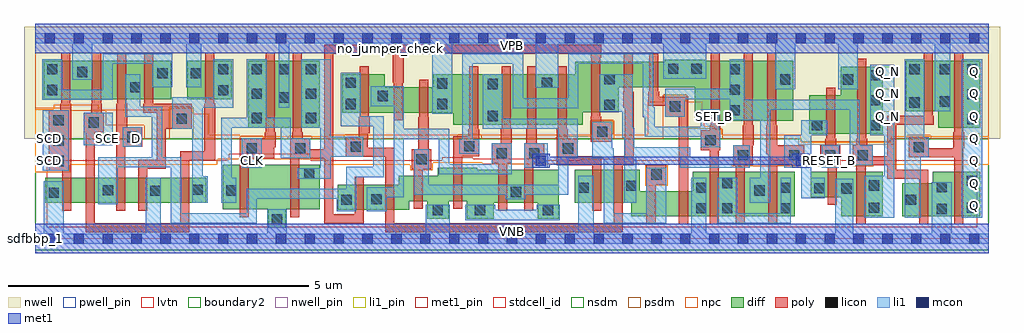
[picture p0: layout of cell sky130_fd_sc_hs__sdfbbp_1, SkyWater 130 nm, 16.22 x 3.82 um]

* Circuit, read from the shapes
.subckt sky130_fd_sc_hs__sdfbbp_1 CLK D Q Q_N RESET_B SCD SCE SET_B VGND VNB VPB VPWR
XM1 n1 SCD VGND VNB sky130_fd_pr__nfet_01v8_lvt w=0.42 l=0.15
XM2 n2 SCE n1 VNB sky130_fd_pr__nfet_01v8_lvt w=0.42 l=0.15
XM3 n3 D n2 VNB sky130_fd_pr__nfet_01v8_lvt w=0.42 l=0.15
XM4 VGND n4 n3 VNB sky130_fd_pr__nfet_01v8_lvt w=0.42 l=0.15
XM5 n4 SCE VGND VNB sky130_fd_pr__nfet_01v8_lvt w=0.42 l=0.15
XM6 VGND CLK n5 VNB sky130_fd_pr__nfet_01v8_lvt w=0.74 l=0.15
XM7 n6 n5 VGND VNB sky130_fd_pr__nfet_01v8_lvt w=0.74 l=0.15
XM8 n7 n5 n2 VNB sky130_fd_pr__nfet_01v8_lvt w=0.42 l=0.15
XM9 n8 n6 n7 VNB sky130_fd_pr__nfet_01v8_lvt w=0.42 l=0.15
XM10 VGND n9 n8 VNB sky130_fd_pr__nfet_01v8_lvt w=0.42 l=0.15
XM11 n10 SET_B VGND VNB sky130_fd_pr__nfet_01v8_lvt w=0.55 l=0.15
XM12 n9 n7 n10 VNB sky130_fd_pr__nfet_01v8_lvt w=0.55 l=0.15
XM13 n10 n11 n9 VNB sky130_fd_pr__nfet_01v8_lvt w=0.55 l=0.15
XM14 n12 n9 VGND VNB sky130_fd_pr__nfet_01v8_lvt w=0.55 l=0.15
XM15 n13 n6 n12 VNB sky130_fd_pr__nfet_01v8_lvt w=0.55 l=0.15
XM16 n14 n5 n13 VNB sky130_fd_pr__nfet_01v8_lvt w=0.42 l=0.15
XM17 VGND n15 n14 VNB sky130_fd_pr__nfet_01v8_lvt w=0.42 l=0.15
XM18 n16 SET_B VGND VNB sky130_fd_pr__nfet_01v8_lvt w=0.74 l=0.15
XM19 n15 n13 n16 VNB sky130_fd_pr__nfet_01v8_lvt w=0.74 l=0.15
XM20 n16 n11 n15 VNB sky130_fd_pr__nfet_01v8_lvt w=0.74 l=0.15
XM21 VGND RESET_B n11 VNB sky130_fd_pr__nfet_01v8_lvt w=0.42 l=0.15
XM22 Q_N n15 VGND VNB sky130_fd_pr__nfet_01v8_lvt w=0.74 l=0.15
XM23 VGND n15 n17 VNB sky130_fd_pr__nfet_01v8_lvt w=0.55 l=0.15
XM24 Q n17 VGND VNB sky130_fd_pr__nfet_01v8_lvt w=0.74 l=0.15
XM25 VPWR SCD n18 VPB sky130_fd_pr__pfet_01v8 w=0.64 l=0.15
XM26 n19 SCE VPWR VPB sky130_fd_pr__pfet_01v8 w=0.64 l=0.15
XM27 n2 D n19 VPB sky130_fd_pr__pfet_01v8 w=0.64 l=0.15
XM28 n18 n4 n2 VPB sky130_fd_pr__pfet_01v8 w=0.64 l=0.15
XM29 n4 SCE VPWR VPB sky130_fd_pr__pfet_01v8 w=0.64 l=0.15
XM30 VPWR CLK n5 VPB sky130_fd_pr__pfet_01v8 w=1.12 l=0.15
XM31 n6 n5 VPWR VPB sky130_fd_pr__pfet_01v8 w=1.12 l=0.15
XM32 n7 n6 n2 VPB sky130_fd_pr__pfet_01v8 w=0.64 l=0.15
XM33 n20 n5 n7 VPB sky130_fd_pr__pfet_01v8 w=0.42 l=0.15
XM34 VPWR n9 n20 VPB sky130_fd_pr__pfet_01v8 w=0.42 l=0.15
XM35 n9 SET_B VPWR VPB sky130_fd_pr__pfet_01v8 w=0.84 l=0.15
XM36 n21 n7 n9 VPB sky130_fd_pr__pfet_01v8 w=0.84 l=0.15
XM37 VPWR n11 n21 VPB sky130_fd_pr__pfet_01v8 w=0.84 l=0.15
XM38 n22 n9 VPWR VPB sky130_fd_pr__pfet_01v8 w=0.84 l=0.15
XM39 n13 n5 n22 VPB sky130_fd_pr__pfet_01v8 w=0.84 l=0.15
XM40 n23 n6 n13 VPB sky130_fd_pr__pfet_01v8 w=0.42 l=0.15
XM41 VPWR n15 n23 VPB sky130_fd_pr__pfet_01v8 w=0.42 l=0.15
XM42 n15 SET_B VPWR VPB sky130_fd_pr__pfet_01v8 w=1 l=0.15
XM43 n24 n13 n15 VPB sky130_fd_pr__pfet_01v8 w=1 l=0.15
XM44 VPWR n11 n24 VPB sky130_fd_pr__pfet_01v8 w=1 l=0.15
XM45 VPWR RESET_B n11 VPB sky130_fd_pr__pfet_01v8 w=0.64 l=0.15
XM46 Q_N n15 VPWR VPB sky130_fd_pr__pfet_01v8 w=1.12 l=0.15
XM47 VPWR n15 n17 VPB sky130_fd_pr__pfet_01v8 w=0.84 l=0.15
XM48 Q n17 VPWR VPB sky130_fd_pr__pfet_01v8 w=1.12 l=0.15
.ends

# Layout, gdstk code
import gdstk
lib = gdstk.Library(unit=1e-6, precision=1e-09)
def R(c, l, rs):  # rectangles x0, y0, x1, y1
    for r in rs: c.add(gdstk.rectangle(r[:2], r[2:], *l))
def A(c, l, x, y, w, h, nx, ny, dx, dy):  # array of equal rectangles
    R(c, l, [(x+i*dx, y+j*dy, x+i*dx+w, y+j*dy+h) for i in range(nx) for j in range(ny)])
def P(c, l, *ps):  # polygons
    for p in ps: c.add(gdstk.Polygon(p, *l))
nwell_pin = (64, 16)
nwell = (64, 20)
diff = (65, 20)
poly = (66, 20)
licon = (66, 44)
li1_pin = (67, 16)
li1 = (67, 20)
mcon = (67, 44)
met1_pin = (68, 16)
met1 = (68, 20)
stdcell_id = (81, 4)
nsdm = (93, 44)
psdm = (94, 20)
npc = (95, 20)
pwell_pin = (122, 16)
lvtn = (125, 44)
boundary2 = (236, 0)

sky130_fd_sc_hs__sdfbbp_ = lib.new_cell('sky130_fd_sc_hs__sdfbbp_1')
R(sky130_fd_sc_hs__sdfbbp_, nwell_pin, [(0,3.085,15.84,3.33)])
P(sky130_fd_sc_hs__sdfbbp_, nwell, [(16.03,3.52),(-0.19,3.52),(-0.19,1.66),(12.68,1.66),(12.68,1.56),(14.26,1.56),(14.26,1.66),(16.03,1.66)])
R(sky130_fd_sc_hs__sdfbbp_, diff, [(0.16,0.595,2.84,1.015), (3.535,1.84,4.725,2.96), (0.135,2.32,2.255,2.96), (2.525,2.32,3.265,2.96)])
P(sky130_fd_sc_hs__sdfbbp_, diff, [(4.725,1.23),(3.11,1.23),(3.11,0.49),(3.87,0.49),(3.87,0.18),(4.16,0.18),(4.16,0.49),(4.725,0.49)],
  [(8.695,1.145),(7.34,1.145),(7.34,1.175),(6.69,1.175),(6.69,1.045),(6.035,1.045),(6.035,0.9),(5.025,0.9),(5.025,0.48),(6.21,0.48),(6.21,0.625),(6.51,0.625),(6.51,0.33),(6.865,0.33),(6.865,0.625),(7.165,0.625),(7.165,0.33),(7.62,0.33),(7.62,0.595),(8.35,0.595),(8.35,0.33),(8.695,0.33)],
  [(12.59,2.96),(11.13,2.96),(11.13,2.97),(10.455,2.97),(10.455,2.94),(8.975,2.94),(8.975,2.735),(6.615,2.735),(6.615,2.515),(5.805,2.515),(5.805,2.735),(5.095,2.735),(5.095,2.095),(6.945,2.095),(6.945,1.895),(9.095,1.895),(9.095,2.1),(9.69,2.1),(9.69,2.52),(10.955,2.52),(10.955,1.96),(12.59,1.96)],
  [(12.615,1.11),(10.92,1.11),(10.92,0.79),(10.045,0.79),(10.045,1.145),(8.965,1.145),(8.965,0.595),(9.905,0.595),(9.905,0.37),(12.615,0.37)],
  [(14.08,2.86),(13.38,2.86),(13.38,2.38),(12.86,2.38),(12.86,1.74),(14.08,1.74)],
  [(14.08,1.11),(12.885,1.11),(12.885,0.69),(13.395,0.69),(13.395,0.37),(14.08,0.37)],
  [(15.705,2.96),(14.465,2.96),(14.465,2.12),(15.005,2.12),(15.005,1.84),(15.705,1.84)],
  [(15.705,1.11),(14.915,1.11),(14.915,0.92),(14.405,0.92),(14.405,0.37),(15.705,0.37)])
P(sky130_fd_sc_hs__sdfbbp_, poly, [(15.435,1.765),(15.42,1.765),(15.42,3.09),(15.27,3.09),(15.27,1.765),(15.255,1.765),(15.255,1.505),(14.845,1.505),(14.845,1.685),(14.515,1.685),(14.515,1.355),(15.27,1.355),(15.27,0.24),(15.42,0.24),(15.42,1.505),(15.435,1.505)],
  [(14.925,2.045),(14.91,2.045),(14.91,3.09),(14.76,3.09),(14.76,2.045),(14.155,2.045),(14.155,1.37),(13.915,1.37),(13.915,1.55),(13.82,1.55),(13.82,1.665),(13.805,1.665),(13.805,2.99),(13.655,2.99),(13.655,1.665),(13.64,1.665),(13.64,1.55),(13.585,1.55),(13.585,1.22),(13.645,1.22),(13.645,0.24),(13.795,0.24),(13.795,1.22),(14.155,1.22),(14.155,0.995),(14.69,0.995),(14.69,0.24),(14.84,0.24),(14.84,1.145),(14.305,1.145),(14.305,1.895),(14.925,1.895)],
  [(13.375,1.55),(13.305,1.55),(13.305,1.665),(13.29,1.665),(13.29,2.51),(13.14,2.51),(13.14,1.665),(13.125,1.665),(13.125,1.55),(13.045,1.55),(13.045,1.22),(13.17,1.22),(13.17,0.56),(13.32,0.56),(13.32,1.22),(13.375,1.22)],
  [(12.775,1.55),(12.325,1.55),(12.325,1.885),(12.31,1.885),(12.31,3.09),(12.16,3.09),(12.16,1.885),(12.145,1.885),(12.145,1.4),(12.175,1.4),(12.175,0.24),(12.325,0.24),(12.325,1.22),(12.775,1.22)],
  [(11.935,1.885),(11.92,1.885),(11.92,3.09),(11.77,3.09),(11.77,1.885),(11.755,1.885),(11.755,1.55),(11.595,1.55),(11.595,1.22),(11.635,1.22),(11.635,0.24),(11.785,0.24),(11.785,1.22),(11.925,1.22),(11.925,1.55),(11.935,1.55)],
  [(11.385,1.885),(11.37,1.885),(11.37,3.09),(11.22,3.09),(11.22,1.885),(11.205,1.885),(11.205,1.8),(11.055,1.8),(11.055,1.47),(11.205,1.47),(11.205,0.24),(11.355,0.24),(11.355,1.47),(11.385,1.47)],
  [(10.845,2.36),(10.365,2.36),(10.365,2.445),(10.35,2.445),(10.35,3.07),(10.2,3.07),(10.2,2.445),(10.185,2.445),(10.185,2.21),(10.465,2.21),(10.465,2.03),(10.695,2.03),(10.695,0.24),(10.845,0.24)],
  [(10.485,1.23),(10.155,1.23),(10.155,0.24),(10.305,0.24),(10.305,0.9),(10.485,0.9)],
  [(9.945,2.445),(9.93,2.445),(9.93,3.07),(9.78,3.07),(9.78,2.445),(9.765,2.445),(9.765,2.18),(9.795,2.18),(9.795,1.37),(9.61,1.37),(9.61,0.255),(5.96,0.255),(5.96,1.515),(5.525,1.515),(5.525,1.755),(5.555,1.755),(5.555,2.02),(5.54,2.02),(5.54,2.865),(5.39,2.865),(5.39,2.02),(5.375,2.02),(5.375,1.695),(5.16,1.695),(5.16,1.365),(5.81,1.365),(5.81,0.105),(9.76,0.105),(9.76,1.22),(9.945,1.22)],
  [(9.585,1.94),(9.405,1.94),(9.405,2.025),(9.39,2.025),(9.39,3.015),(9.405,3.015),(9.405,3.225),(4.8,3.225),(4.8,1.49),(4.565,1.49),(4.565,1.67),(4.445,1.67),(4.445,1.765),(4.43,1.765),(4.43,3.09),(4.28,3.09),(4.28,1.765),(4.265,1.765),(4.265,1.67),(4.235,1.67),(4.235,0.36),(4.385,0.36),(4.385,1.34),(4.8,1.34),(4.8,0.255),(5.46,0.255),(5.46,1.03),(5.31,1.03),(5.31,0.405),(4.95,0.405),(4.95,3.075),(5.94,3.075),(5.94,2.59),(5.955,2.59),(5.955,1.965),(6.105,1.965),(6.105,2.59),(6.12,2.59),(6.12,3.075),(9.225,3.075),(9.225,3.015),(9.24,3.015),(9.24,2.025),(9.225,2.025),(9.225,1.61),(9.585,1.61)],
  [(9.4,1.37),(9.015,1.37),(9.015,1.665),(8.845,1.665),(8.845,1.82),(8.83,1.82),(8.83,2.865),(8.68,2.865),(8.68,1.82),(8.665,1.82),(8.665,1.22),(9.25,1.22),(9.25,0.465),(9.4,0.465)],
  [(8.455,1.585),(8.335,1.585),(8.335,1.82),(8.32,1.82),(8.32,2.865),(8.17,2.865),(8.17,1.82),(8.155,1.82),(8.155,1.585),(8.125,1.585),(8.125,0.465),(8.275,0.465),(8.275,1.255),(8.455,1.255)],
  [(7.915,1.82),(7.9,1.82),(7.9,2.865),(7.75,2.865),(7.75,1.82),(7.735,1.82),(7.735,1.585),(7.585,1.585),(7.585,1.255),(7.695,1.255),(7.695,0.465),(7.845,0.465),(7.845,1.255),(7.915,1.255)],
  [(7.375,1.82),(7.36,1.82),(7.36,2.865),(7.21,2.865),(7.21,1.82),(7.195,1.82),(7.195,1.7),(6.94,1.7),(6.94,0.495),(7.09,0.495),(7.09,1.37),(7.375,1.37)],
  [(6.58,1.485),(6.54,1.485),(6.54,2.02),(6.525,2.02),(6.525,2.645),(6.375,2.645),(6.375,2.02),(6.36,2.02),(6.36,1.485),(6.25,1.485),(6.25,1.155),(6.285,1.155),(6.285,0.495),(6.435,0.495),(6.435,1.155),(6.58,1.155)],
  [(3.995,1.765),(3.98,1.765),(3.98,3.09),(3.83,3.09),(3.83,1.765),(3.815,1.765),(3.815,1.67),(3.395,1.67),(3.395,0.36),(3.545,0.36),(3.545,1.34),(3.965,1.34),(3.965,1.52),(3.995,1.52)],
  [(2.985,2.245),(2.97,2.245),(2.97,3.09),(2.82,3.09),(2.82,2.245),(2.805,2.245),(2.805,1.455),(2.405,1.455),(2.405,0.255),(0.985,0.255),(0.985,1.765),(1.135,1.765),(1.135,2.095),(1.105,2.095),(1.105,2.245),(1.09,2.245),(1.09,3.09),(0.94,3.09),(0.94,2.245),(0.925,2.245),(0.925,2.095),(0.805,2.095),(0.805,1.765),(0.835,1.765),(0.835,0.105),(2.555,0.105),(2.555,1.305),(2.985,1.305)],
  [(2.595,2.245),(1.96,2.245),(1.96,3.09),(1.81,3.09),(1.81,2.245),(1.795,2.245),(1.795,2.095),(2.015,2.095),(2.015,1.315),(1.705,1.315),(1.705,0.465),(1.855,0.465),(1.855,1.165),(2.165,1.165),(2.165,1.83),(2.595,1.83)],
  [(1.775,1.855),(1.525,1.855),(1.525,2.245),(1.51,2.245),(1.51,3.09),(1.36,3.09),(1.36,2.245),(1.345,2.245),(1.345,0.465),(1.495,0.465),(1.495,1.525),(1.775,1.525)],
  [(0.595,2.245),(0.58,2.245),(0.58,3.09),(0.43,3.09),(0.43,2.245),(0.415,2.245),(0.415,2.135),(0.22,2.135),(0.22,1.125),(0.445,1.125),(0.445,0.465),(0.595,0.465)])
A(sky130_fd_sc_hs__sdfbbp_, licon, 0.3, 1.205, 0.17, 0.17, 1, 3, 0, 0.34)
A(sky130_fd_sc_hs__sdfbbp_, licon, 13.87, 1.8, 0.17, 0.17, 1, 3, 0, 0.415)
A(sky130_fd_sc_hs__sdfbbp_, licon, 15.485, 1.9, 0.17, 0.17, 1, 3, 0, 0.415)
A(sky130_fd_sc_hs__sdfbbp_, licon, 11.535, 2.05, 0.17, 0.17, 1, 3, 0, 0.34)
A(sky130_fd_sc_hs__sdfbbp_, licon, 3.595, 2.73, 0.17, 0.17, 3, 1, 0.45, 0)
R(sky130_fd_sc_hs__sdfbbp_, licon, [(3.93,0.24,4.1,0.41), (6.6,0.39,6.77,0.56), (7.305,0.39,7.475,0.56), (8.435,0.39,8.605,0.56), (14.975,0.41,15.145,0.58), (10.98,0.42,11.15,0.59), (11.41,0.42,11.58,0.59), (12.385,0.42,12.555,0.59), (13.85,0.43,14.02,0.6), (15.475,0.43,15.645,0.6), (5.085,0.56,5.255,0.73), (14.465,0.56,14.635,0.73), (5.585,0.57,5.755,0.74), (0.22,0.68,0.39,0.85), (7.9,0.69,8.07,0.86), (1.91,0.71,2.08,0.88), (3.17,0.715,3.34,0.885), (11.95,0.715,12.12,0.885), (1.12,0.72,1.29,0.89), (2.61,0.73,2.78,0.9), (13.395,0.75,13.565,0.92), (12.945,0.755,13.115,0.925), (9.025,0.76,9.195,0.93), (10.98,0.76,11.15,0.93), (12.385,0.76,12.555,0.93), (14.975,0.77,15.145,0.94), (9.815,0.795,9.985,0.965), (13.85,0.8,14.02,0.97), (11.41,0.84,11.58,1.01), (15.475,0.88,15.645,1.05), (10.235,0.98,10.405,1.15), (4.465,1,4.635,1.17), (6.33,1.235,6.5,1.405), (11.675,1.3,11.845,1.47), (12.525,1.3,12.695,1.47), (13.125,1.3,13.295,1.47), (13.665,1.3,13.835,1.47), (7.665,1.335,7.835,1.505), (8.205,1.335,8.375,1.505), (8.765,1.415,8.935,1.585), (3.51,1.42,3.68,1.59), (4.315,1.42,4.485,1.59), (14.595,1.435,14.765,1.605), (5.24,1.445,5.41,1.615), (7.125,1.45,7.295,1.62), (11.135,1.55,11.305,1.72), (1.525,1.605,1.695,1.775), (9.335,1.69,9.505,1.86), (12.905,1.8,13.075,1.97), (0.885,1.845,1.055,2.015), (2.345,1.91,2.515,2.08), (3.595,1.92,3.765,2.09), (4.495,1.92,4.665,2.09), (7.515,1.955,7.685,2.125), (10.545,2.11,10.715,2.28), (9.455,2.14,9.625,2.31), (5.155,2.155,5.325,2.325), (6.675,2.155,6.845,2.325), (14.525,2.18,14.695,2.35), (15.03,2.195,15.2,2.365), (4.045,2.26,4.215,2.43), (5.685,2.285,5.855,2.455), (3.595,2.325,3.765,2.495), (4.495,2.325,4.665,2.495), (3.035,2.38,3.205,2.55), (0.195,2.385,0.365,2.555), (1.575,2.43,1.745,2.6), (7.515,2.485,7.685,2.655), (6.675,2.495,6.845,2.665), (5.155,2.505,5.325,2.675), (8.415,2.505,8.585,2.675), (12.375,2.56,12.545,2.73), (13.42,2.56,13.59,2.73), (9.455,2.565,9.625,2.735), (2.025,2.665,2.195,2.835), (2.585,2.665,2.755,2.835), (0.695,2.685,0.865,2.855), (0.195,2.73,0.365,2.9), (3.035,2.73,3.205,2.9), (14.525,2.73,14.695,2.9), (15.03,2.73,15.2,2.9), (10.515,2.74,10.685,2.91), (10.9,2.74,11.07,2.91)])
A(sky130_fd_sc_hs__sdfbbp_, li1_pin, 15.515, 0.47, 0.17, 0.17, 1, 7, 0, 0.37)
A(sky130_fd_sc_hs__sdfbbp_, li1_pin, 14.075, 1.95, 0.17, 0.17, 1, 3, 0, 0.37)
R(sky130_fd_sc_hs__sdfbbp_, li1_pin, [(0.155,1.21,0.325,1.38), (3.515,1.21,3.685,1.38), (13.115,1.21,13.285,1.38), (0.155,1.58,0.325,1.75), (1.115,1.58,1.285,1.75), (1.595,1.58,1.765,1.75), (11.195,1.95,11.365,2.12)])
R(sky130_fd_sc_hs__sdfbbp_, li1, [(15.395,0.35,15.735,2.98), (0.125,1.125,0.55,2.135), (3.43,1.18,3.76,1.67), (8.125,1.18,8.515,1.585), (13.065,1.18,13.36,1.55), (1.455,1.525,1.765,1.855), (0.805,1.55,1.285,2.095)])
P(sky130_fd_sc_hs__sdfbbp_, li1, [(0,-0.085),(0,0.085),(0.14,0.085),(0.14,0.955),(0.47,0.955),(0.47,0.085),(1.83,0.085),(1.83,1.015),(2.08,1.015),(2.08,0.085),(3.85,0.085),(3.85,0.49),(4.18,0.49),(4.18,0.085),(6.49,0.085),(6.49,0.56),(6.885,0.56),(6.885,0.085),(9.025,0.085),(9.025,1.05),(9.275,1.05),(9.275,0.085),(10.9,0.085),(10.9,1.01),(11.15,1.01),(11.15,0.085),(13.295,0.085),(13.295,1),(13.59,1),(13.59,0.085),(14.895,0.085),(14.895,0.94),(15.225,0.94),(15.225,0.085),(15.84,0.085),(15.84,-0.085)],
  [(0,3.245),(0,3.415),(15.84,3.415),(15.84,3.245),(15.205,3.245),(15.205,2.115),(14.945,2.115),(14.945,3.245),(13.67,3.245),(13.67,2.48),(13.34,2.48),(13.34,3.245),(12.625,3.245),(12.625,2.48),(12.295,2.48),(12.295,3.245),(11.15,3.245),(11.15,2.66),(10.435,2.66),(10.435,3.245),(8.685,3.245),(8.685,2.505),(8.315,2.505),(8.315,3.245),(6.925,3.245),(6.925,2.075),(6.595,2.075),(6.595,3.245),(4.215,3.245),(4.215,2.18),(4.045,2.18),(4.045,3.245),(2.755,3.245),(2.755,2.52),(2.505,2.52),(2.505,3.245),(0.945,3.245),(0.945,2.645),(0.615,2.645),(0.615,3.245)],
  [(13.87,1.72),(13.87,2.89),(14.275,2.89),(14.275,0.35),(13.77,0.35),(13.77,1.05),(14.105,1.05),(14.105,1.72)],
  [(10.125,1.69),(10.125,2.015),(10.095,2.015),(10.095,2.905),(9.025,2.905),(9.025,2.165),(7.935,2.165),(7.935,2.905),(7.265,2.905),(7.265,1.655),(7.375,1.655),(7.375,1.41),(7.045,1.41),(7.045,1.655),(7.095,1.655),(7.095,3.075),(8.105,3.075),(8.105,2.335),(8.855,2.335),(8.855,3.075),(10.265,3.075),(10.265,2.185),(10.295,2.185),(10.295,1.86),(11.055,1.86),(11.055,2.15),(11.365,2.15),(11.365,1.8),(11.385,1.8),(11.385,1.52),(11.055,1.52),(11.055,1.69)],
  [(13.7,2.31),(13.7,1.55),(13.915,1.55),(13.915,1.22),(13.53,1.22),(13.53,2.14),(12.215,2.14),(12.215,0.595),(11.87,0.595),(11.87,1.01),(12.045,1.01),(12.045,1.97),(11.535,1.97),(11.535,2.32),(10.795,2.32),(10.795,2.03),(10.465,2.03),(10.465,2.49),(11.535,2.49),(11.535,2.98),(11.785,2.98),(11.785,2.31)],
  [(5.955,2.205),(5.575,2.205),(5.575,2.535),(6.125,2.535),(6.125,1.825),(6.875,1.825),(6.875,1.24),(7.585,1.24),(7.585,1.585),(7.915,1.585),(7.915,1.07),(6.705,1.07),(6.705,1.655),(6.125,1.655),(6.125,0.685),(5.835,0.685),(5.835,0.46),(5.505,0.46),(5.505,0.855),(5.955,0.855)],
  [(3.845,2.01),(4.245,2.01),(4.245,1.67),(4.565,1.67),(4.565,1.34),(4.075,1.34),(4.075,1.84),(3.26,1.84),(3.26,1.01),(3.34,1.01),(3.34,0.595),(3.09,0.595),(3.09,2.01),(3.515,2.01),(3.515,2.98),(3.845,2.98)],
  [(12.445,1.18),(12.445,1.72),(12.725,1.72),(12.725,1.97),(13.155,1.97),(13.155,1.72),(12.895,1.72),(12.895,1.01),(13.115,1.01),(13.115,0.67),(12.725,0.67),(12.725,1.18)],
  [(9.925,2.735),(9.925,1.845),(9.955,1.845),(9.955,1.52),(10.885,1.52),(10.885,1.35),(11.595,1.35),(11.595,1.55),(11.875,1.55),(11.875,1.18),(10.715,1.18),(10.715,1.35),(9.985,1.35),(9.985,0.595),(9.785,0.595),(9.785,1.675),(9.755,1.675),(9.755,2.11),(9.375,2.11),(9.375,2.735)],
  [(4.905,1.695),(5.445,1.695),(5.445,1.365),(4.905,1.365),(4.905,1),(4.36,1),(4.36,1.17),(4.735,1.17),(4.735,1.84),(4.415,1.84),(4.415,2.98),(4.905,2.98)],
  [(0.445,2.475),(1.115,2.475),(1.115,3.075),(2.275,3.075),(2.275,2.52),(1.945,2.52),(1.945,2.905),(1.285,2.905),(1.285,2.305),(0.115,2.305),(0.115,2.98),(0.445,2.98)],
  [(11.66,0.425),(12.385,0.425),(12.385,1.01),(12.555,1.01),(12.555,0.255),(11.33,0.255),(11.33,1.01),(11.66,1.01)],
  [(1.04,1.355),(1.935,1.355),(1.935,2.025),(1.495,2.025),(1.495,2.735),(1.745,2.735),(1.745,2.195),(2.105,2.195),(2.105,1.355),(2.42,1.355),(2.42,0.425),(3.51,0.425),(3.51,0.83),(5.165,0.83),(5.165,1.195),(5.615,1.195),(5.615,1.865),(5.075,1.865),(5.075,2.755),(5.405,2.755),(5.405,2.035),(5.785,2.035),(5.785,1.025),(5.335,1.025),(5.335,0.46),(5.005,0.46),(5.005,0.66),(3.68,0.66),(3.68,0.255),(2.25,0.255),(2.25,1.185),(1.37,1.185),(1.37,0.575),(1.04,0.575)],
  [(2.275,1.83),(2.275,2.35),(2.955,2.35),(2.955,2.98),(3.285,2.98),(3.285,2.18),(2.78,2.18),(2.78,1.035),(2.86,1.035),(2.86,0.595),(2.61,0.595),(2.61,1.83)],
  [(14.445,2.98),(14.775,2.98),(14.775,1.685),(14.845,1.685),(14.845,1.355),(14.715,1.355),(14.715,0.35),(14.445,0.35)],
  [(9.445,0.255),(9.445,1.335),(9.255,1.335),(9.255,1.94),(9.585,1.94),(9.585,1.505),(9.615,1.505),(9.615,0.425),(10.155,0.425),(10.155,1.18),(10.485,1.18),(10.485,0.255)],
  [(6.295,0.73),(6.295,1.485),(6.535,1.485),(6.535,0.9),(8.685,0.9),(8.685,1.825),(7.435,1.825),(7.435,2.735),(7.765,2.735),(7.765,1.995),(9.015,1.995),(9.015,1.335),(8.855,1.335),(8.855,0.73),(8.15,0.73),(8.15,0.655),(7.82,0.655),(7.82,0.73)],
  [(8.33,0.48),(8.33,0.56),(8.715,0.56),(8.715,0.31),(7.145,0.31),(7.145,0.56),(7.64,0.56),(7.64,0.48)])
A(sky130_fd_sc_hs__sdfbbp_, mcon, 0.155, -0.085, 0.17, 0.17, 33, 2, 0.48, 3.33)
R(sky130_fd_sc_hs__sdfbbp_, mcon, [(8.315,1.21,8.485,1.38), (12.635,1.21,12.805,1.38)])
R(sky130_fd_sc_hs__sdfbbp_, met1_pin, [(0,0,15.84,0.245), (0,3.085,15.84,3.33)])
R(sky130_fd_sc_hs__sdfbbp_, met1, [(0,-0.245,15.84,0.245), (0,3.085,15.84,3.575)])
P(sky130_fd_sc_hs__sdfbbp_, met1, [(8.545,1.365),(12.575,1.365),(12.575,1.41),(12.865,1.41),(12.865,1.18),(12.575,1.18),(12.575,1.225),(8.545,1.225),(8.545,1.18),(8.255,1.18),(8.255,1.41),(8.545,1.41)])
R(sky130_fd_sc_hs__sdfbbp_, stdcell_id, [(0,0,15.84,3.33)])
P(sky130_fd_sc_hs__sdfbbp_, nsdm, [(15.84,1.66),(14.21,1.66),(14.21,1.61),(12.73,1.61),(12.73,1.66),(0,1.66),(0,-0.19),(15.84,-0.19)])
P(sky130_fd_sc_hs__sdfbbp_, psdm, [(15.84,3.52),(0,3.52),(0,2.165),(0.58,2.165),(0.58,2.125),(1.165,2.125),(1.165,1.885),(1.805,1.885),(1.805,1.66),(2.235,1.66),(2.235,2.19),(2.625,2.19),(2.625,1.66),(3.4,1.66),(3.4,1.7),(3.79,1.7),(3.79,1.66),(4.205,1.66),(4.205,1.7),(4.595,1.7),(4.595,1.66),(5.13,1.66),(5.13,1.725),(5.52,1.725),(5.52,1.66),(7.015,1.66),(7.015,1.73),(7.405,1.73),(7.405,1.66),(8.655,1.66),(8.655,1.695),(9.225,1.695),(9.225,1.97),(9.615,1.97),(9.615,1.66),(10.435,1.66),(10.435,2.39),(10.825,2.39),(10.825,1.83),(11.415,1.83),(11.415,1.66),(12.73,1.66),(12.73,1.61),(14.21,1.61),(14.21,1.66),(14.485,1.66),(14.485,1.715),(14.875,1.715),(14.875,1.66),(15.84,1.66)])
P(sky130_fd_sc_hs__sdfbbp_, npc, [(15.84,1.7),(14.865,1.7),(14.865,1.705),(14.495,1.705),(14.495,1.7),(14.22,1.7),(14.22,1.6),(12.72,1.6),(12.72,1.73),(11.405,1.73),(11.405,1.82),(11.3,1.82),(11.3,1.87),(11.115,1.87),(11.115,2.085),(11.08,2.085),(11.08,2.275),(10.815,2.275),(10.815,2.38),(10.445,2.38),(10.445,2.275),(10.18,2.275),(10.18,1.73),(9.605,1.73),(9.605,1.96),(9.235,1.96),(9.235,1.73),(4.865,1.73),(4.865,1.7),(3.395,1.7),(3.395,1.73),(2.88,1.73),(2.88,2.075),(2.615,2.075),(2.615,2.18),(2.245,2.18),(2.245,2.14),(1.05,2.14),(1.05,2.23),(0.305,2.23),(0.305,2.155),(0,2.155),(0,1.105),(0.57,1.105),(0.57,1.23),(3.02,1.23),(3.02,1.32),(4.815,1.32),(4.815,1.23),(6.23,1.23),(6.23,1.135),(6.6,1.135),(6.6,1.265),(7.43,1.265),(7.43,1.235),(10.135,1.235),(10.135,0.88),(10.505,0.88),(10.505,1.23),(11.575,1.23),(11.575,1.2),(13.935,1.2),(13.935,1.23),(15.84,1.23)])
R(sky130_fd_sc_hs__sdfbbp_, pwell_pin, [(0,0,15.84,0.245)])
P(sky130_fd_sc_hs__sdfbbp_, lvtn, [(15.65,1.3),(9.94,1.3),(9.94,1.325),(9.07,1.325),(9.07,1.3),(8.455,1.3),(8.455,1.325),(7.27,1.325),(7.27,1.355),(6.76,1.355),(6.76,1.3),(4.565,1.3),(4.565,1.41),(3.215,1.41),(3.215,1.3),(0.19,1.3),(0.19,0.19),(15.65,0.19)])
R(sky130_fd_sc_hs__sdfbbp_, boundary2, [(0,0,15.84,3.33)])
sky130_fd_sc_hs__sdfbbp_.add(gdstk.Label('sdfbbp_1', (0,0), layer=83, texttype=44))
sky130_fd_sc_hs__sdfbbp_.add(gdstk.Label('no_jumper_check', (5.905,3.165), layer=83, texttype=44))
sky130_fd_sc_hs__sdfbbp_.add(gdstk.Label('VNB', (7.92,0.123), layer=64, texttype=59))
sky130_fd_sc_hs__sdfbbp_.add(gdstk.Label('VPB', (7.92,3.208), layer=64, texttype=5))
sky130_fd_sc_hs__sdfbbp_.add(gdstk.Label('VPWR', (7.92,3.208), layer=68, texttype=5))
sky130_fd_sc_hs__sdfbbp_.add(gdstk.Label('VGND', (7.92,0.123), layer=68, texttype=5))
sky130_fd_sc_hs__sdfbbp_.add(gdstk.Label('Q_N', (14.16,2.035), layer=67, texttype=5))
sky130_fd_sc_hs__sdfbbp_.add(gdstk.Label('Q_N', (14.16,2.405), layer=67, texttype=5))
sky130_fd_sc_hs__sdfbbp_.add(gdstk.Label('Q_N', (14.16,2.775), layer=67, texttype=5))
sky130_fd_sc_hs__sdfbbp_.add(gdstk.Label('RESET_B', (13.2,1.295), layer=67, texttype=5))
sky130_fd_sc_hs__sdfbbp_.add(gdstk.Label('D', (1.68,1.665), layer=67, texttype=5))
sky130_fd_sc_hs__sdfbbp_.add(gdstk.Label('SCE', (1.2,1.665), layer=67, texttype=5))
sky130_fd_sc_hs__sdfbbp_.add(gdstk.Label('SCD', (0.24,1.295), layer=67, texttype=5))
sky130_fd_sc_hs__sdfbbp_.add(gdstk.Label('SCD', (0.24,1.665), layer=67, texttype=5))
sky130_fd_sc_hs__sdfbbp_.add(gdstk.Label('Q', (15.6,0.555), layer=67, texttype=5))
sky130_fd_sc_hs__sdfbbp_.add(gdstk.Label('Q', (15.6,0.925), layer=67, texttype=5))
sky130_fd_sc_hs__sdfbbp_.add(gdstk.Label('Q', (15.6,1.295), layer=67, texttype=5))
sky130_fd_sc_hs__sdfbbp_.add(gdstk.Label('Q', (15.6,1.665), layer=67, texttype=5))
sky130_fd_sc_hs__sdfbbp_.add(gdstk.Label('Q', (15.6,2.035), layer=67, texttype=5))
sky130_fd_sc_hs__sdfbbp_.add(gdstk.Label('Q', (15.6,2.405), layer=67, texttype=5))
sky130_fd_sc_hs__sdfbbp_.add(gdstk.Label('Q', (15.6,2.775), layer=67, texttype=5))
sky130_fd_sc_hs__sdfbbp_.add(gdstk.Label('CLK', (3.6,1.295), layer=67, texttype=5))
sky130_fd_sc_hs__sdfbbp_.add(gdstk.Label('SET_B', (11.28,2.035), layer=67, texttype=5))

lib.write_gds('sky130_fd_sc_hs__sdfbbp_1.gds')
